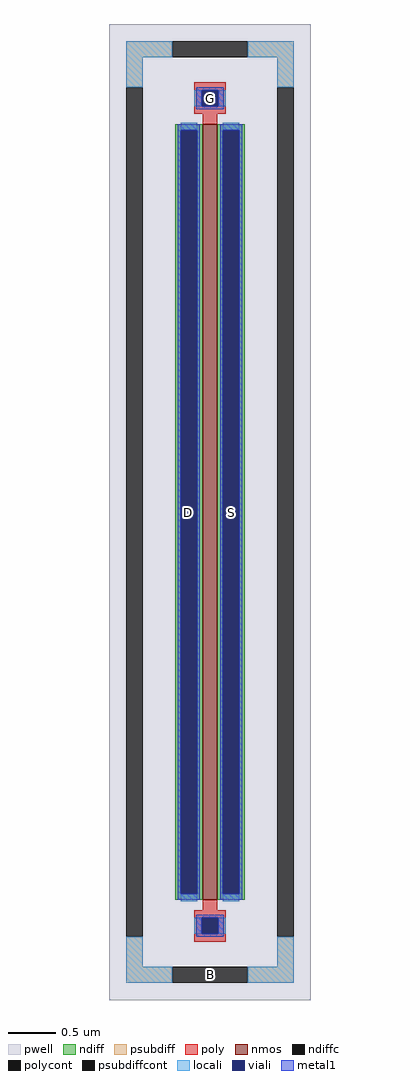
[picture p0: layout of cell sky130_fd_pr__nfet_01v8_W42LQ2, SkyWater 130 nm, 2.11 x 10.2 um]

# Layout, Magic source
magic
tech sky130A
magscale 1 2
<< pwell >>
rect -211 -1020 211 1020
<< nmos >>
rect -15 -810 15 810
<< ndiff >>
rect -73 798 -15 810
rect -73 -798 -61 798
rect -27 -798 -15 798
rect -73 -810 -15 -798
rect 15 798 73 810
rect 15 -798 27 798
rect 61 -798 73 798
rect 15 -810 73 -798
<< ndiffc >>
rect -61 -798 -27 798
rect 27 -798 61 798
<< psubdiff >>
rect -175 950 -79 984
rect 79 950 175 984
rect -175 888 -141 950
rect 141 888 175 950
rect -175 -950 -141 -888
rect 141 -950 175 -888
rect -175 -984 -79 -950
rect 79 -984 175 -950
<< psubdiffcont >>
rect -79 950 79 984
rect -175 -888 -141 888
rect 141 -888 175 888
rect -79 -984 79 -950
<< poly >>
rect -33 882 33 898
rect -33 848 -17 882
rect 17 848 33 882
rect -33 832 33 848
rect -15 810 15 832
rect -15 -832 15 -810
rect -33 -848 33 -832
rect -33 -882 -17 -848
rect 17 -882 33 -848
rect -33 -898 33 -882
<< polycont >>
rect -17 848 17 882
rect -17 -882 17 -848
<< locali >>
rect -175 950 -79 984
rect 79 950 175 984
rect -175 888 -141 950
rect 141 888 175 950
rect -33 848 -17 882
rect 17 848 33 882
rect -61 798 -27 814
rect -61 -814 -27 -798
rect 27 798 61 814
rect 27 -814 61 -798
rect -33 -882 -17 -848
rect 17 -882 33 -848
rect -175 -950 -141 -888
rect 141 -950 175 -888
rect -175 -984 -79 -950
rect 79 -984 175 -950
<< viali >>
rect -17 848 17 882
rect -61 -798 -27 798
rect 27 -798 61 798
rect -17 -882 17 -848
<< metal1 >>
rect -29 882 29 888
rect -29 848 -17 882
rect 17 848 29 882
rect -29 842 29 848
rect -67 798 -21 810
rect -67 -798 -61 798
rect -27 -798 -21 798
rect -67 -810 -21 -798
rect 21 798 67 810
rect 21 -798 27 798
rect 61 -798 67 798
rect 21 -810 67 -798
rect -29 -848 29 -842
rect -29 -882 -17 -848
rect 17 -882 29 -848
rect -29 -888 29 -882
<< labels >>
rlabel psubdiffcont 0 -967 0 -967 0 B
port 77 nsew
rlabel ndiffc -44 0 -44 0 0 D
port 78 nsew
rlabel ndiffc 44 0 44 0 0 S
port 79 nsew
rlabel polycont 0 865 0 865 0 G
port 80 nsew
<< properties >>
string FIXED_BBOX -158 -967 158 967
string gencell sky130_fd_pr__nfet_01v8
string library sky130
string parameters w 8.1 l 0.15 m 1 nf 1 diffcov 100 polycov 100 guard 1 glc 1 grc 1 gtc 1 gbc 1 tbcov 100 rlcov 100 topc 1 botc 1 poverlap 0 doverlap 1 lmin 0.15 wmin 0.42 class mosfet compatible {sky130_fd_pr__nfet_01v8 sky130_fd_pr__nfet_01v8_lvt  sky130_fd_bs_flash__special_sonosfet_star  sky130_fd_pr__nfet_g5v0d10v5 sky130_fd_pr__nfet_05v0_nvt  sky130_fd_pr__nfet_03v3_nvt} full_metal 1 viasrc 100 viadrn 100 viagate 100 viagb 0 viagr 0 viagl 0 viagt 0 doports 1
<< end >>
